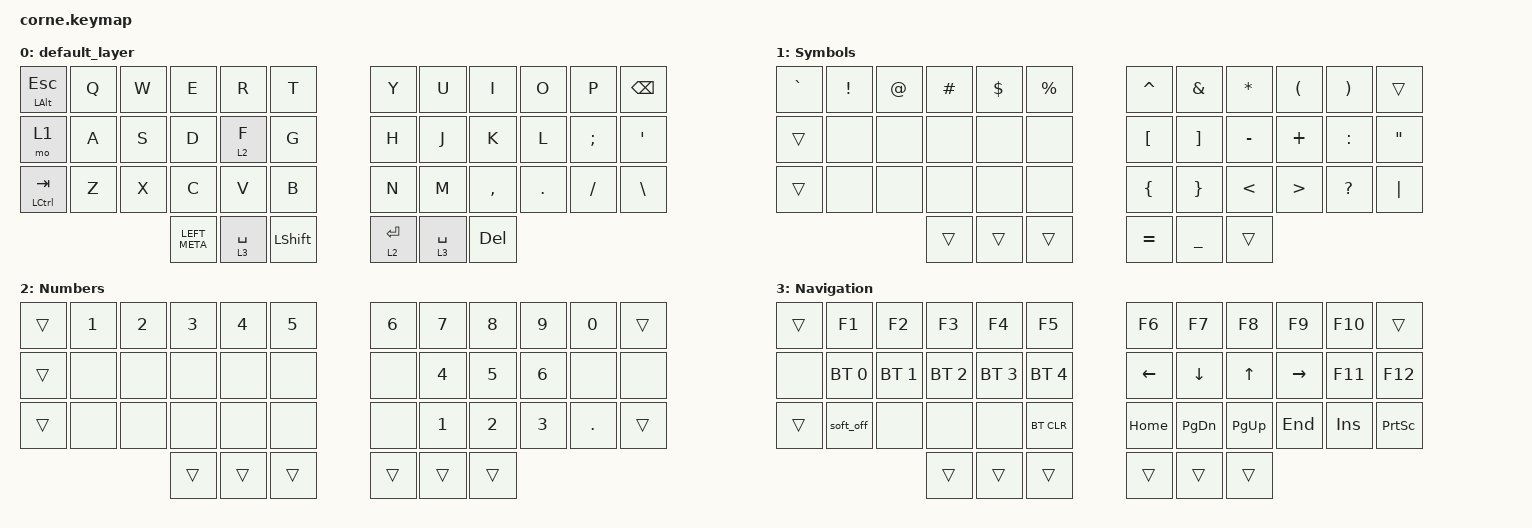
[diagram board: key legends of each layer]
/*
 * Copyright (c) 2020 The ZMK Contributors
 *
 * SPDX-License-Identifier: MIT
 */

#include <behaviors.dtsi>
#include <dt-bindings/zmk/bt.h>
#include <dt-bindings/zmk/keys.h>

&lt { flavor = "balanced"; };

/ {
    combos { compatible = "zmk,combos"; };

    keymap {
        compatible = "zmk,keymap";

        default_layer {
            // -----------------------------------------------------------------------------------------
            // |  TAB |  Q  |  W  |  E  |  R  |  T  |   |  Y  |  U   |  I  |  O  |  P  | BKSP |
            // | CTRL |  A  |  S  |  D  |  F  |  G  |   |  H  |  J   |  K  |  L  |  ;  |  '   |
            // | SHFT |  Z  |  X  |  C  |  V  |  B  |   |  N  |  M   |  ,  |  .  |  /  | ESC  |
            //                    | GUI | LWR | SPC |   | ENT | RSE  | ALT |

            bindings = <
&mt LALT ESCAPE  &kp Q  &kp W  &kp E          &kp R        &kp T         &kp Y        &kp U        &kp I       &kp O    &kp P      &kp BSPC
&mo 1            &kp A  &kp S  &kp D          &lt 2 F      &kp G         &kp H        &kp J        &kp K       &kp L    &kp SEMI   &kp SQT
&mt LCTRL TAB    &kp Z  &kp X  &kp C          &kp V        &kp B         &kp N        &kp M        &kp COMMA   &kp DOT  &kp SLASH  &kp BACKSLASH
                               &kp LEFT_META  &lt 3 SPACE  &kp LSHIFT    &lt 2 ENTER  &lt 3 SPACE  &kp DELETE
            >;
        };

        Symbols {
            // -----------------------------------------------------------------------------------------
            // |  TAB |  !  |  @  |  #  |  $  |  %  |   |  ^  |  &  |  *  |  (  |  )  | BKSP |
            // | CTRL |     |     |     |     |     |   |  -  |  =  |  [  |  ]  |  \  |  `   |
            // | SHFT |     |     |     |     |     |   |  _  |  +  |  {  |  }  | "|" |  ~   |
            //                    | GUI |     | SPC |   | ENT |     | ALT |

            bindings = <
&kp GRAVE  &kp EXCL  &kp AT  &kp HASH  &kp DLLR  &kp PRCNT    &kp CARET  &kp AMPS   &kp ASTRK  &kp LPAR  &kp RPAR      &trans
&trans     &none     &none   &none     &none     &none        &kp LBKT   &kp RBKT   &kp MINUS  &kp PLUS  &kp COLON     &kp DQT
&trans     &none     &none   &none     &none     &none        &kp LBRC   &kp RBRC   &kp LT     &kp GT    &kp QUESTION  &kp PIPE
                             &trans    &trans    &trans       &kp EQUAL  &kp UNDER  &trans
            >;
        };

        Numbers {
            bindings = <
&trans  &kp N1  &kp N2  &kp N3  &kp N4  &kp N5    &kp N6  &kp N7  &kp N8  &kp N9  &kp N0   &trans
&trans  &none   &none   &none   &none   &none     &none   &kp N4  &kp N5  &kp N6  &none    &none
&trans  &none   &none   &none   &none   &none     &none   &kp N1  &kp N2  &kp N3  &kp DOT  &trans
                        &trans  &trans  &trans    &trans  &trans  &trans
            >;
        };

        Navigation {
            // -----------------------------------------------------------------------------------------
            // |  TAB |  1  |  2  |  3  |  4  |  5  |   |  6  |  7  |  8  |  9  |  0  | BKSP |
            // | BTCLR| BT1 | BT2 | BT3 | BT4 | BT5 |   | LFT | DWN |  UP | RGT |     |      |
            // | SHFT |     |     |     |     |     |   |     |     |     |     |     |      |
            //                    | GUI |     | SPC |   | ENT |     | ALT |

            bindings = <
&trans  &kp F1        &kp F2        &kp F3        &kp F4        &kp F5          &kp F6    &kp F7     &kp F8     &kp F9     &kp F10     &trans
&none   &bt BT_SEL 0  &bt BT_SEL 1  &bt BT_SEL 2  &bt BT_SEL 3  &bt BT_SEL 4    &kp LEFT  &kp DOWN   &kp UP     &kp RIGHT  &kp F11     &kp F12
&trans  &soft_off     &none         &none         &none         &bt BT_CLR      &kp HOME  &kp PG_DN  &kp PG_UP  &kp END    &kp INSERT  &kp PRINTSCREEN
                                    &trans        &trans        &trans          &trans    &trans     &trans
            >;
        };
    };

    conditional_layers { compatible = "zmk,conditional-layers"; };
};
